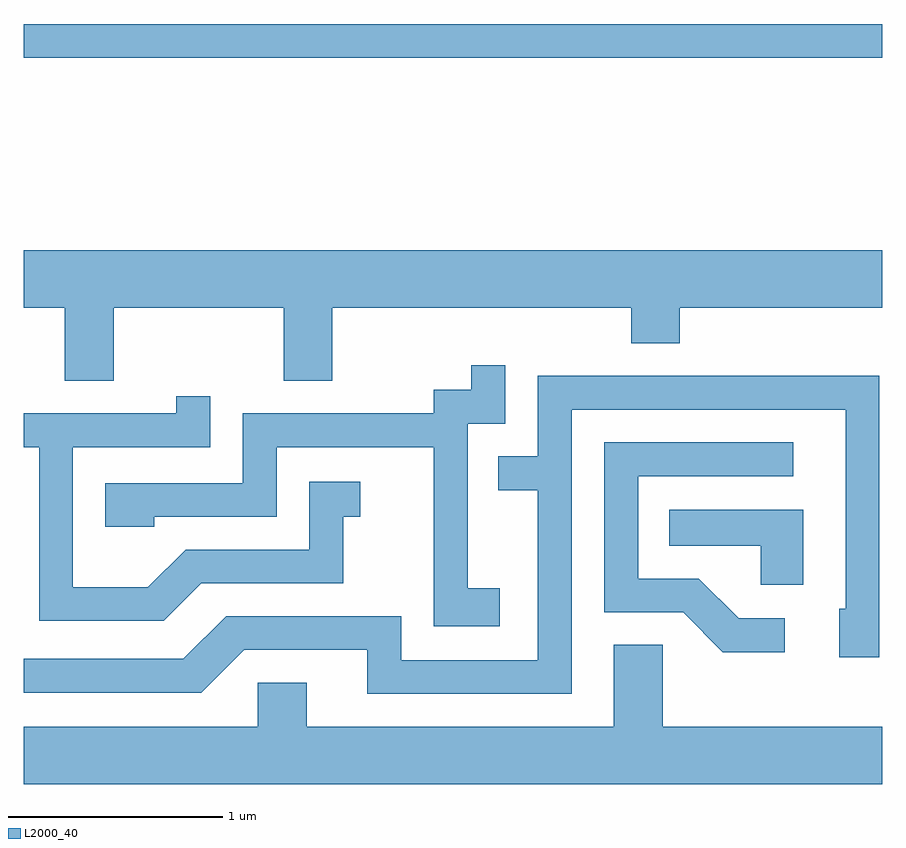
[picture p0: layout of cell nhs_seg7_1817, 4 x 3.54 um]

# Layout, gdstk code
import gdstk
lib = gdstk.Library(unit=1e-6, precision=1e-09)
def R(c, l, rs):  # rectangles x0, y0, x1, y1
    for r in rs: c.add(gdstk.rectangle(r[:2], r[2:], *l))
def P(c, l, *ps):  # polygons
    for p in ps: c.add(gdstk.Polygon(p, *l))
L2000_40 = (2000, 40)

nhs_seg7_1817 = lib.new_cell('nhs_seg7_1817')
R(nhs_seg7_1817, L2000_40, [(239.611,1782.081,243.611,1782.239)])
P(nhs_seg7_1817, L2000_40, [(240.029,1780.916),(240.821,1780.916),(240.821,1780.576),(241.049,1780.576),(241.049,1780.916),(242.441,1780.916),(242.441,1780.751),(242.669,1780.751),(242.669,1780.916),(243.611,1780.916),(243.611,1781.184),(239.611,1781.184),(239.611,1780.916),(239.801,1780.916),(239.801,1780.576),(240.029,1780.576)],
  [(241.829,1779.609),(241.679,1779.609),(241.679,1780.376),(241.854,1780.376),(241.854,1780.648),(241.696,1780.648),(241.696,1780.534),(241.521,1780.534),(241.521,1780.424),(240.631,1780.424),(240.631,1780.099),(239.991,1780.099),(239.991,1779.896),(240.219,1779.896),(240.219,1779.941),(240.789,1779.941),(240.789,1780.266),(241.521,1780.266),(241.521,1779.431),(241.829,1779.431)],
  [(242.164,1780.441),(243.441,1780.441),(243.441,1779.514),(243.411,1779.514),(243.411,1779.286),(243.599,1779.286),(243.599,1780.599),(242.006,1780.599),(242.006,1780.224),(241.823,1780.224),(241.823,1780.066),(242.006,1780.066),(242.006,1779.274),(241.369,1779.274),(241.369,1779.479),(240.554,1779.479),(240.354,1779.279),(239.611,1779.279),(239.611,1779.121),(240.437,1779.121),(240.637,1779.321),(241.211,1779.321),(241.211,1779.116),(242.164,1779.116)],
  [(240.437,1779.631),(241.099,1779.631),(241.099,1779.941),(241.178,1779.941),(241.178,1780.104),(240.941,1780.104),(240.941,1779.789),(240.364,1779.789),(240.189,1779.614),(239.839,1779.614),(239.839,1780.266),(240.479,1780.266),(240.479,1780.503),(240.321,1780.503),(240.321,1780.424),(239.611,1780.424),(239.611,1780.266),(239.681,1780.266),(239.681,1779.456),(240.262,1779.456)],
  [(243.158,1779.469),(242.942,1779.469),(242.757,1779.654),(242.474,1779.654),(242.474,1780.131),(243.198,1780.131),(243.198,1780.289),(242.316,1780.289),(242.316,1779.496),(242.684,1779.496),(242.869,1779.311),(243.158,1779.311)],
  [(243.244,1779.974),(242.618,1779.974),(242.618,1779.806),(243.046,1779.806),(243.046,1779.626),(243.244,1779.626)],
  [(243.611,1778.964),(242.589,1778.964),(242.589,1779.344),(242.361,1779.344),(242.361,1778.964),(240.929,1778.964),(240.929,1779.169),(240.701,1779.169),(240.701,1778.964),(239.611,1778.964),(239.611,1778.696),(243.611,1778.696)])

lib.write_gds('nhs_seg7_1817.gds')
